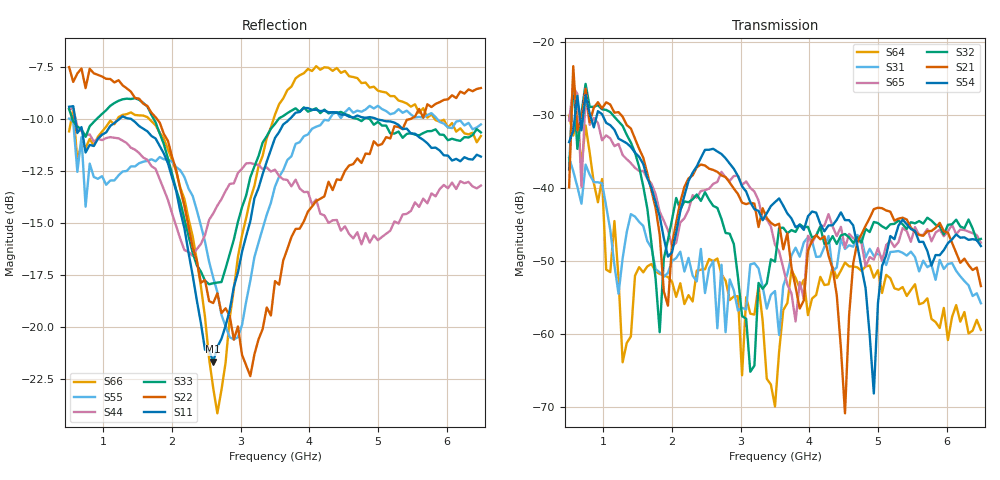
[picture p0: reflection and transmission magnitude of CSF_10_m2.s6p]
!Keysight Technologies,M9804A,MY58100912,A.14.10.03
!Date: Thursday, April 27, 2023 10:28:33
!Correction: S11(C  6-Port  )
!S12(C  6-Port  )
!S13(C  6-Port  )
!S14(C  6-Port  )
!S15(C  6-Port  )
!S16(C  6-Port  )
!S21(C  6-Port  )
!S22(C  6-Port  )
!S23(C  6-Port  )
!S24(C  6-Port  )
!S25(C  6-Port  )
!S26(C  6-Port  )
!S31(C  6-Port  )
!S32(C  6-Port  )
!S33(C  6-Port  )
!S34(C  6-Port  )
!S35(C  6-Port  )
!S36(C  6-Port  )
!S41(C  6-Port  )
!S42(C  6-Port  )
!S43(C  6-Port  )
!S44(C  6-Port  )
!S45(C  6-Port  )
!S46(C  6-Port  )
!S51(C  6-Port  )
!S52(C  6-Port  )
!S53(C  6-Port  )
!S54(C  6-Port  )
!S55(C  6-Port  )
!S56(C  6-Port  )
!S61(C  6-Port  )
!S62(C  6-Port  )
!S63(C  6-Port  )
!S64(C  6-Port  )
!S65(C  6-Port  )
!S66(C  6-Port  )
!S6P File: Measurement: :
# Hz S  RI  R 50
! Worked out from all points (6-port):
!   101 points, 500 MHz to 6.5 GHz, reference 50 ohm
!   strongest paths, dB at 500 MHz, 2 GHz, 3.5 GHz, 5 GHz, 6.5 GHz:
!     S54: -33.8, -48.8, -42.0, -55.8, -48.0
!     S21: -40.0, -47.7, -45.2, -42.8, -53.5
!     S32: -37.5, -44.3, -50.1, -44.9, -47.0
!     S65: -30.8, -48.0, -47.8, -48.3, -47.5
!     S31: -35.9, -50.0, -54.2, -49.0, -55.8
!     S64: -30.1, -52.9, -69.9, -51.3, -59.5
!   lowest |S11| = -21.6 dB at 2.6 GHz (marker M1), VSWR 1.18, Z = 42.6 + j2.06 ohm
!   |S11| at or under -10 dB: 588.3 MHz to 1.236 GHz (648.1 MHz wide, 71 % of centre); 1.4 GHz to 3.717 GHz (2.317 GHz wide, 90.5 % of centre); 4.973 GHz to end of sweep
